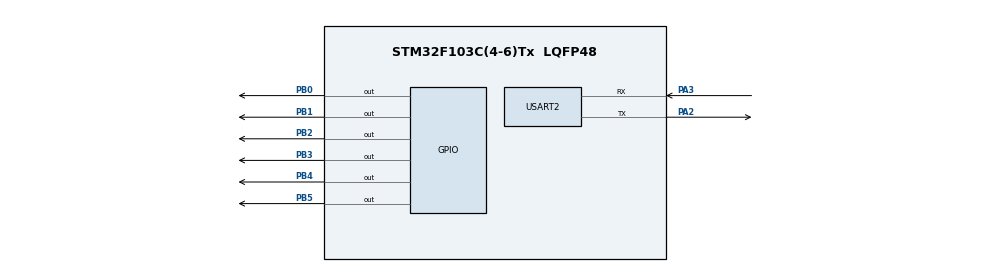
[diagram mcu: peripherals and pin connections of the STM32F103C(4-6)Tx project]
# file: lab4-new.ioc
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Mcu.Family=STM32F1
Mcu.Name=STM32F103C(4-6)Tx
Mcu.Package=LQFP48
NVIC.PriorityGroup=NVIC_PRIORITYGROUP_4
NVIC.TIM2_IRQn=true\:0\:0\:false\:false\:true\:true\:true
NVIC.USART2_IRQn=true\:0\:0\:false\:false\:true\:true\:true
PA2.Mode=Asynchronous
PA2.Signal=USART2_TX
PA3.Mode=Asynchronous
PA3.Signal=USART2_RX
PB0.Signal=GPIO_Output
PB1.Signal=GPIO_Output
PB2.Signal=GPIO_Output
PB3.Signal=GPIO_Output
PB4.Signal=GPIO_Output
PB5.Signal=GPIO_Output
ProjectManager.HeapSize=0x200
ProjectManager.StackSize=0x400
ProjectManager.TargetToolchain=STM32CubeIDE
RCC.APB1Freq_Value=8000000
RCC.APB2Freq_Value=8000000
TIM2.Period=10
TIM2.Prescaler=8000-1
USART2.VirtualMode=VM_ASYNC
VP_SYS_VS_ND.Mode=No_Debug
VP_TIM2_VS_ClockSourceINT.Mode=Internal
board=custom

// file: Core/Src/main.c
/* USER CODE BEGIN Header */
/**
  ******************************************************************************
  * @file           : main.c
  * @brief          : Main program body
  ******************************************************************************
  * @attention
  *
  * <h2><center>&copy; Copyright (c) 2021 STMicroelectronics.
  * All rights reserved.</center></h2>
  *
  * This software component is licensed by ST under BSD 3-Clause license,
  * the "License"; You may not use this file except in compliance with the
  * License. You may obtain a copy of the License at:
  *                        opensource.org/licenses/BSD-3-Clause
  *
  ******************************************************************************
  */
/* USER CODE END Header */
#include "main.h"

/* USER CODE BEGIN Includes */
#include <stdlib.h>
#include "scheduler.h"
#include "timer.h"
/* USER CODE END Includes */

TIM_HandleTypeDef htim2;

UART_HandleTypeDef huart2;

void SystemClock_Config(void);
static void MX_GPIO_Init(void);
static void MX_USART2_UART_Init(void);
static void MX_TIM2_Init(void);

int main(void)
{

  /* MCU Configuration--------------------------------------------------------*/

  /* Reset of all peripherals, Initializes the Flash interface and the Systick. */
  HAL_Init();

  /* Configure the system clock */
  SystemClock_Config();

  /* Initialize all configured peripherals */
  MX_GPIO_Init();
  MX_USART2_UART_Init();
  MX_TIM2_Init();
  /* USER CODE BEGIN 2 */
  SCH_Init();
  SCH_Add_Task(&Task1, 1, 50);
  SCH_Add_Task(&Task2, 1, 100);
  SCH_Add_Task(&Task3, 1, 150);
  SCH_Add_Task(&Task4, 1, 200);
  SCH_Add_Task(&Task5, 1, 250);
  HAL_TIM_Base_Start_IT(&htim2);
  /* USER CODE END 2 */

  /* Infinite loop */
  /* USER CODE BEGIN WHILE */
  while (1)
  {
	  SCH_Dispatch_Tasks();
    /* USER CODE END WHILE */

  }
}

void SystemClock_Config(void)
{
  RCC_OscInitTypeDef RCC_OscInitStruct = {0};
  RCC_ClkInitTypeDef RCC_ClkInitStruct = {0};

  /** Initializes the RCC Oscillators according to the specified parameters
  * in the RCC_OscInitTypeDef structure.
  */
  RCC_OscInitStruct.OscillatorType = RCC_OSCILLATORTYPE_HSI;
  RCC_OscInitStruct.HSIState = RCC_HSI_ON;
  RCC_OscInitStruct.HSICalibrationValue = RCC_HSICALIBRATION_DEFAULT;
  RCC_OscInitStruct.PLL.PLLState = RCC_PLL_NONE;
  if (HAL_RCC_OscConfig(&RCC_OscInitStruct) != HAL_OK)
  {
    Error_Handler();
  }
  /** Initializes the CPU, AHB and APB buses clocks
  */
  RCC_ClkInitStruct.ClockType = RCC_CLOCKTYPE_HCLK|RCC_CLOCKTYPE_SYSCLK
                              |RCC_CLOCKTYPE_PCLK1|RCC_CLOCKTYPE_PCLK2;
  RCC_ClkInitStruct.SYSCLKSource = RCC_SYSCLKSOURCE_HSI;
  RCC_ClkInitStruct.AHBCLKDivider = RCC_SYSCLK_DIV1;
  RCC_ClkInitStruct.APB1CLKDivider = RCC_HCLK_DIV1;
  RCC_ClkInitStruct.APB2CLKDivider = RCC_HCLK_DIV1;

  if (HAL_RCC_ClockConfig(&RCC_ClkInitStruct, FLASH_LATENCY_0) != HAL_OK)
  {
    Error_Handler();
  }
}

static void MX_TIM2_Init(void)
{

  TIM_ClockConfigTypeDef sClockSourceConfig = {0};
  TIM_MasterConfigTypeDef sMasterConfig = {0};

  htim2.Instance = TIM2;
  htim2.Init.Prescaler = 8000-1;
  htim2.Init.CounterMode = TIM_COUNTERMODE_UP;
  htim2.Init.Period = 10;
  htim2.Init.ClockDivision = TIM_CLOCKDIVISION_DIV1;
  htim2.Init.AutoReloadPreload = TIM_AUTORELOAD_PRELOAD_DISABLE;
  if (HAL_TIM_Base_Init(&htim2) != HAL_OK)
  {
    Error_Handler();
  }
  sClockSourceConfig.ClockSource = TIM_CLOCKSOURCE_INTERNAL;
  if (HAL_TIM_ConfigClockSource(&htim2, &sClockSourceConfig) != HAL_OK)
  {
    Error_Handler();
  }
  sMasterConfig.MasterOutputTrigger = TIM_TRGO_RESET;
  sMasterConfig.MasterSlaveMode = TIM_MASTERSLAVEMODE_DISABLE;
  if (HAL_TIMEx_MasterConfigSynchronization(&htim2, &sMasterConfig) != HAL_OK)
  {
    Error_Handler();
  }

}

static void MX_USART2_UART_Init(void)
{

  huart2.Instance = USART2;
  huart2.Init.BaudRate = 115200;
  huart2.Init.WordLength = UART_WORDLENGTH_8B;
  huart2.Init.StopBits = UART_STOPBITS_1;
  huart2.Init.Parity = UART_PARITY_NONE;
  huart2.Init.Mode = UART_MODE_TX_RX;
  huart2.Init.HwFlowCtl = UART_HWCONTROL_NONE;
  huart2.Init.OverSampling = UART_OVERSAMPLING_16;
  if (HAL_UART_Init(&huart2) != HAL_OK)
  {
    Error_Handler();
  }

}

static void MX_GPIO_Init(void)
{
  GPIO_InitTypeDef GPIO_InitStruct = {0};

  /* GPIO Ports Clock Enable */
  __HAL_RCC_GPIOA_CLK_ENABLE();
  __HAL_RCC_GPIOB_CLK_ENABLE();

  /*Configure GPIO pin Output Level */
  HAL_GPIO_WritePin(GPIOB, GPIO_PIN_0|GPIO_PIN_1|GPIO_PIN_2|GPIO_PIN_3
                          |GPIO_PIN_4|GPIO_PIN_5, GPIO_PIN_RESET);

  /*Configure GPIO pins : PB0 PB1 PB2 PB3
                           PB4 PB5 */
  GPIO_InitStruct.Pin = GPIO_PIN_0|GPIO_PIN_1|GPIO_PIN_2|GPIO_PIN_3
                          |GPIO_PIN_4|GPIO_PIN_5;
  GPIO_InitStruct.Mode = GPIO_MODE_OUTPUT_PP;
  GPIO_InitStruct.Pull = GPIO_NOPULL;
  GPIO_InitStruct.Speed = GPIO_SPEED_FREQ_LOW;
  HAL_GPIO_Init(GPIOB, &GPIO_InitStruct);

}

/* USER CODE BEGIN 4 */
void Task1(){
	HAL_GPIO_TogglePin(GPIOB, GPIO_PIN_0);
	displayTime('1');
}
void Task2(){
	HAL_GPIO_TogglePin(GPIOB, GPIO_PIN_1);
	displayTime('2');
}
void Task3(){
	HAL_GPIO_TogglePin(GPIOB, GPIO_PIN_2);
	displayTime('3');
}
void Task4(){
	HAL_GPIO_TogglePin(GPIOB, GPIO_PIN_3);
	displayTime('4');
}
void Task5(){
	HAL_GPIO_TogglePin(GPIOB, GPIO_PIN_4);
	displayTime('5');
}
void displayTime(uint8_t x){
	uint32_t time = HAL_GetTick(); // 20
	uint32_t temp = time;
	uint32_t index = 0;
	while(temp > 0){
		index++;
		temp = temp/10;
	}
	uint8_t buffer[index+4]; // '2' '0' '-' 'x' '\n' '\r'
	buffer[index+3] = '\r';
	buffer[index+2] = '\n';
	buffer[index+1] = x;
	buffer[index] = '-';
	for(int i = index-1; i >= 0; i--){
		buffer[i] = time%10 + '0';
		time = time/10;
	}
	HAL_UART_Transmit(&huart2, (uint8_t *)buffer, sizeof(buffer), 1000);
}
/* USER CODE END 4 */

void Error_Handler(void)
{
  __disable_irq();
  while (1)
  {
  }
}

/************************ (C) COPYRIGHT STMicroelectronics *****END OF FILE****/
